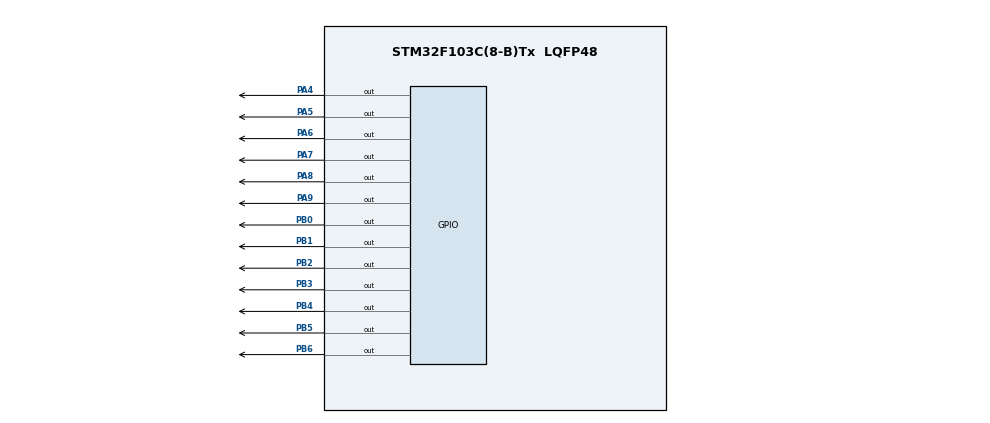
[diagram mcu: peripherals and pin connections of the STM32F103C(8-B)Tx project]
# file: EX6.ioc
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Mcu.Family=STM32F1
Mcu.Name=STM32F103C(8-B)Tx
Mcu.Package=LQFP48
NVIC.PriorityGroup=NVIC_PRIORITYGROUP_4
NVIC.TIM2_IRQn=true\:0\:0\:false\:false\:true\:true\:true\:true
PA13.Mode=Serial_Wire
PA13.Signal=SYS_JTMS-SWDIO
PA14.Mode=Serial_Wire
PA14.Signal=SYS_JTCK-SWCLK
PA4.Signal=GPIO_Output
PA5.Signal=GPIO_Output
PA6.Signal=GPIO_Output
PA7.Signal=GPIO_Output
PA8.Signal=GPIO_Output
PA9.Signal=GPIO_Output
PB0.Signal=GPIO_Output
PB1.Signal=GPIO_Output
PB2.Signal=GPIO_Output
PB3.Signal=GPIO_Output
PB4.Signal=GPIO_Output
PB5.Signal=GPIO_Output
PB6.Signal=GPIO_Output
ProjectManager.HeapSize=0x200
ProjectManager.StackSize=0x400
ProjectManager.TargetToolchain=MDK-ARM V5.32
RCC.APB1Freq_Value=8000000
RCC.APB2Freq_Value=8000000
TIM2.Period=9
TIM2.Prescaler=7999
VP_TIM2_VS_ClockSourceINT.Mode=Internal
board=custom

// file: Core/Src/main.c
/* USER CODE BEGIN Header */
/**
  ******************************************************************************
  * @file           : main.c
  * @brief          : Main program body
  ******************************************************************************
  * @attention
  *
  * Copyright (c) 2026 STMicroelectronics.
  * All rights reserved.
  *
  * This software is licensed under terms that can be found in the LICENSE file
  * in the root directory of this software component.
  * If no LICENSE file comes with this software, it is provided AS-IS.
  *
  ******************************************************************************
  */
/* USER CODE END Header */
#include "main.h"

/* USER CODE BEGIN Includes */
#define LED_A GPIO_PIN_0
#define LED_B GPIO_PIN_1
#define LED_C GPIO_PIN_2
#define LED_D GPIO_PIN_3
#define LED_E GPIO_PIN_4
#define LED_F GPIO_PIN_5
#define LED_G GPIO_PIN_6

#define ALL_LEDS (LED_A | LED_B | LED_C | LED_D | \
                  LED_E | LED_F | LED_G)

#define EN0 GPIO_PIN_6
#define EN1 GPIO_PIN_7
#define EN2 GPIO_PIN_8
#define EN3 GPIO_PIN_9

#define ALL_EN (EN0 | EN1 | EN2 | EN3)

#define DOT_PIN GPIO_PIN_4
#define LED_RED_PIN GPIO_PIN_5

#define MAX_LED     4
#define TIMER_CYCLE 10
/* USER CODE END Includes */

/* USER CODE BEGIN PD */
int hour = 15;
int minute = 8;
int second = 50;

int led_buffer[MAX_LED] = {0, 0, 0, 0};
int index_led = 0;

// Timer 0: DOT
int timer0_counter = 0;
int timer0_flag = 0;

// Timer 1: quet LED 7 doan
int timer1_counter = 0;
int timer1_flag = 0;

// Timer 2: thu nghiem LED PA5 trong Ex6
int timer2_counter = 0;
int timer2_flag = 0;

/* USER CODE END PD */

TIM_HandleTypeDef htim2;

void SystemClock_Config(void);
static void MX_GPIO_Init(void);
static void MX_TIM2_Init(void);

/* USER CODE BEGIN 0 */
void display7SEG(int num)
{
    static const uint16_t digit[10] =
    {
        LED_A | LED_B | LED_C | LED_D | LED_E | LED_F,         // 0
        LED_B | LED_C,                                         // 1
        LED_A | LED_B | LED_D | LED_E | LED_G,                 // 2
        LED_A | LED_B | LED_C | LED_D | LED_G,                 // 3
        LED_B | LED_C | LED_F | LED_G,                         // 4
        LED_A | LED_C | LED_D | LED_F | LED_G,                 // 5
        LED_A | LED_C | LED_D | LED_E | LED_F | LED_G,         // 6
        LED_A | LED_B | LED_C,                                 // 7
        LED_A | LED_B | LED_C | LED_D | LED_E | LED_F | LED_G, // 8
        LED_A | LED_B | LED_C | LED_D | LED_F | LED_G          // 9
    };

    // Anode chung: HIGH tat, LOW sang
    HAL_GPIO_WritePin(GPIOB, ALL_LEDS, GPIO_PIN_SET);

    if (num >= 0 && num <= 9)
    {
        HAL_GPIO_WritePin(GPIOB, digit[num], GPIO_PIN_RESET);
    }
}

void disable7SEG(void)
{
    HAL_GPIO_WritePin(GPIOA, ALL_EN, GPIO_PIN_SET);
}

void update7SEG(int index)
{
    disable7SEG();

    switch (index)
    {
        case 0:
            display7SEG(led_buffer[0]);
            HAL_GPIO_WritePin(GPIOA, EN0, GPIO_PIN_RESET);
            break;

        case 1:
            display7SEG(led_buffer[1]);
            HAL_GPIO_WritePin(GPIOA, EN1, GPIO_PIN_RESET);
            break;

        case 2:
            display7SEG(led_buffer[2]);
            HAL_GPIO_WritePin(GPIOA, EN2, GPIO_PIN_RESET);
            break;

        case 3:
            display7SEG(led_buffer[3]);
            HAL_GPIO_WritePin(GPIOA, EN3, GPIO_PIN_RESET);
            break;

        default:
            break;
    }
}

void updateClockBuffer(void)
{
    led_buffer[0] = hour / 10;
    led_buffer[1] = hour % 10;
    led_buffer[2] = minute / 10;
    led_buffer[3] = minute % 10;
}

void setTimer0(int duration)
{
    timer0_counter = duration / TIMER_CYCLE;
    timer0_flag = 0;
}

void setTimer1(int duration)
{
    timer1_counter = duration / TIMER_CYCLE;
    timer1_flag = 0;
}

void setTimer2(int duration)
{
    timer2_counter = duration / TIMER_CYCLE;
    timer2_flag = 0;
}

void timer_run(void)
{
    if (timer0_counter > 0)
    {
        timer0_counter--;

        if (timer0_counter == 0)
        {
            timer0_flag = 1;
        }
    }

    if (timer1_counter > 0)
    {
        timer1_counter--;

        if (timer1_counter == 0)
        {
            timer1_flag = 1;
        }
    }

    if (timer2_counter > 0)
    {
        timer2_counter--;

        if (timer2_counter == 0)
        {
            timer2_flag = 1;
        }
    }
}

void HAL_TIM_PeriodElapsedCallback(TIM_HandleTypeDef *htim)
{
    if (htim->Instance == TIM2)
    {
        timer_run();

        // DOT
        if (timer0_flag == 1)
        {
            HAL_GPIO_TogglePin(GPIOA, DOT_PIN);
            setTimer0(1000);
        }

        // Quet LED 7 doan
        if (timer1_flag == 1)
        {
            update7SEG(index_led);

            index_led++;
            if (index_led >= MAX_LED)
            {
                index_led = 0;
            }

            setTimer1(250);
        }
    }
}
/* USER CODE END 0 */

int main(void)
{

  /* MCU Configuration--------------------------------------------------------*/

  /* Reset of all peripherals, Initializes the Flash interface and the Systick. */
  HAL_Init();

  /* Configure the system clock */
  SystemClock_Config();

  /* Initialize all configured peripherals */
  MX_GPIO_Init();
  MX_TIM2_Init();
  /* USER CODE BEGIN 2 */
  disable7SEG();
  HAL_GPIO_WritePin(GPIOA, DOT_PIN, GPIO_PIN_SET);

  // Theo so do lab, LED PA5 sang o muc LOW
  HAL_GPIO_WritePin(GPIOA, LED_RED_PIN, GPIO_PIN_SET);

  // Khoi tao dong ho
  updateClockBuffer();
  update7SEG(0);
  index_led = 1;

  setTimer0(1000);
  setTimer1(250);

  setTimer2(1000);

  HAL_TIM_Base_Start_IT(&htim2);
  /* USER CODE END 2 */

  /* Infinite loop */
  while (1)
  {

    /* USER CODE BEGIN 3 */
		if (timer2_flag == 1)
    {
        HAL_GPIO_TogglePin(GPIOA, LED_RED_PIN);
        setTimer2(2000);
    }
  }
  /* USER CODE END 3 */
}

void SystemClock_Config(void)
{
  RCC_OscInitTypeDef RCC_OscInitStruct = {0};
  RCC_ClkInitTypeDef RCC_ClkInitStruct = {0};

  /** Initializes the RCC Oscillators according to the specified parameters
  * in the RCC_OscInitTypeDef structure.
  */
  RCC_OscInitStruct.OscillatorType = RCC_OSCILLATORTYPE_HSI;
  RCC_OscInitStruct.HSIState = RCC_HSI_ON;
  RCC_OscInitStruct.HSICalibrationValue = RCC_HSICALIBRATION_DEFAULT;
  RCC_OscInitStruct.PLL.PLLState = RCC_PLL_NONE;
  if (HAL_RCC_OscConfig(&RCC_OscInitStruct) != HAL_OK)
  {
    Error_Handler();
  }

  /** Initializes the CPU, AHB and APB buses clocks
  */
  RCC_ClkInitStruct.ClockType = RCC_CLOCKTYPE_HCLK|RCC_CLOCKTYPE_SYSCLK
                              |RCC_CLOCKTYPE_PCLK1|RCC_CLOCKTYPE_PCLK2;
  RCC_ClkInitStruct.SYSCLKSource = RCC_SYSCLKSOURCE_HSI;
  RCC_ClkInitStruct.AHBCLKDivider = RCC_SYSCLK_DIV1;
  RCC_ClkInitStruct.APB1CLKDivider = RCC_HCLK_DIV1;
  RCC_ClkInitStruct.APB2CLKDivider = RCC_HCLK_DIV1;

  if (HAL_RCC_ClockConfig(&RCC_ClkInitStruct, FLASH_LATENCY_0) != HAL_OK)
  {
    Error_Handler();
  }
}

static void MX_TIM2_Init(void)
{

  TIM_ClockConfigTypeDef sClockSourceConfig = {0};
  TIM_MasterConfigTypeDef sMasterConfig = {0};

  htim2.Instance = TIM2;
  htim2.Init.Prescaler = 7999;
  htim2.Init.CounterMode = TIM_COUNTERMODE_UP;
  htim2.Init.Period = 9;
  htim2.Init.ClockDivision = TIM_CLOCKDIVISION_DIV1;
  htim2.Init.AutoReloadPreload = TIM_AUTORELOAD_PRELOAD_DISABLE;
  if (HAL_TIM_Base_Init(&htim2) != HAL_OK)
  {
    Error_Handler();
  }
  sClockSourceConfig.ClockSource = TIM_CLOCKSOURCE_INTERNAL;
  if (HAL_TIM_ConfigClockSource(&htim2, &sClockSourceConfig) != HAL_OK)
  {
    Error_Handler();
  }
  sMasterConfig.MasterOutputTrigger = TIM_TRGO_RESET;
  sMasterConfig.MasterSlaveMode = TIM_MASTERSLAVEMODE_DISABLE;
  if (HAL_TIMEx_MasterConfigSynchronization(&htim2, &sMasterConfig) != HAL_OK)
  {
    Error_Handler();
  }

}

static void MX_GPIO_Init(void)
{
  GPIO_InitTypeDef GPIO_InitStruct = {0};

  /* GPIO Ports Clock Enable */
  __HAL_RCC_GPIOA_CLK_ENABLE();
  __HAL_RCC_GPIOB_CLK_ENABLE();

  /*Configure GPIO pin Output Level */
  HAL_GPIO_WritePin(GPIOA, GPIO_PIN_4|GPIO_PIN_5|GPIO_PIN_6|GPIO_PIN_7
                          |GPIO_PIN_8|GPIO_PIN_9, GPIO_PIN_RESET);

  /*Configure GPIO pin Output Level */
  HAL_GPIO_WritePin(GPIOB, GPIO_PIN_0|GPIO_PIN_1|GPIO_PIN_2|GPIO_PIN_3
                          |GPIO_PIN_4|GPIO_PIN_5|GPIO_PIN_6, GPIO_PIN_RESET);

  /*Configure GPIO pins : PA4 PA5 PA6 PA7
                           PA8 PA9 */
  GPIO_InitStruct.Pin = GPIO_PIN_4|GPIO_PIN_5|GPIO_PIN_6|GPIO_PIN_7
                          |GPIO_PIN_8|GPIO_PIN_9;
  GPIO_InitStruct.Mode = GPIO_MODE_OUTPUT_PP;
  GPIO_InitStruct.Pull = GPIO_NOPULL;
  GPIO_InitStruct.Speed = GPIO_SPEED_FREQ_LOW;
  HAL_GPIO_Init(GPIOA, &GPIO_InitStruct);

  /*Configure GPIO pins : PB0 PB1 PB2 PB3
                           PB4 PB5 PB6 */
  GPIO_InitStruct.Pin = GPIO_PIN_0|GPIO_PIN_1|GPIO_PIN_2|GPIO_PIN_3
                          |GPIO_PIN_4|GPIO_PIN_5|GPIO_PIN_6;
  GPIO_InitStruct.Mode = GPIO_MODE_OUTPUT_PP;
  GPIO_InitStruct.Pull = GPIO_NOPULL;
  GPIO_InitStruct.Speed = GPIO_SPEED_FREQ_LOW;
  HAL_GPIO_Init(GPIOB, &GPIO_InitStruct);

}

void Error_Handler(void)
{
  __disable_irq();
  while (1)
  {
  }
}
